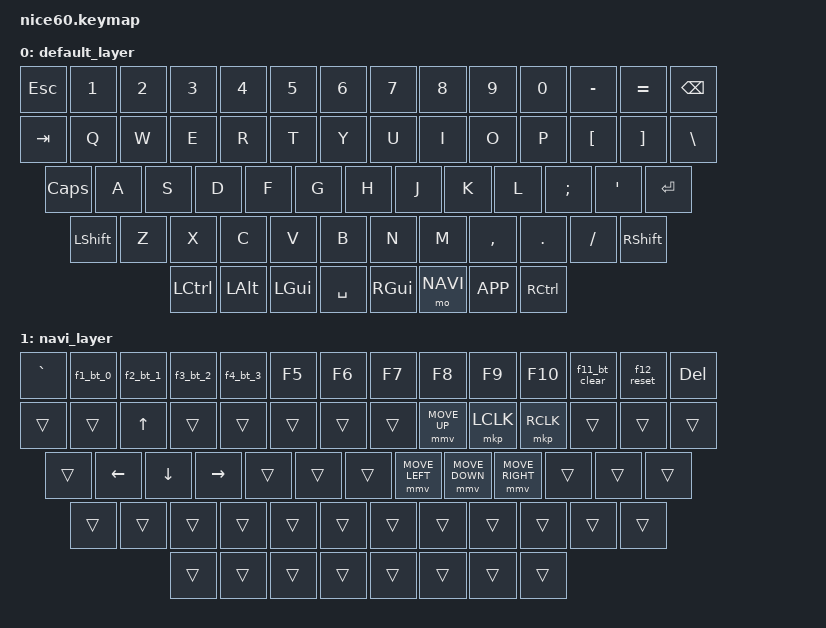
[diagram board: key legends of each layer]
#include <behaviors.dtsi>
#include <dt-bindings/zmk/bt.h>
#include <dt-bindings/zmk/keys.h>
#include <dt-bindings/zmk/pointing.h>

#define DEFAULT 0
#define NAVI 1

/ {
    behaviors {
        f1_bt_0: f1_bt_0 {
            compatible = "zmk,behavior-mod-morph";
            label = "f1_bt_0";
            #binding-cells = <0>;
            bindings = <&kp F1>, <&bt BT_SEL 0>;
            mods = <(MOD_LSFT|MOD_RSFT)>;
        };

        f2_bt_1: f2_bt_1 {
            compatible = "zmk,behavior-mod-morph";
            label = "f2_bt_1";
            #binding-cells = <0>;
            bindings = <&kp F2>, <&bt BT_SEL 1>;
            mods = <(MOD_LSFT|MOD_RSFT)>;
        };

        f3_bt_2: f3_bt_2 {
            compatible = "zmk,behavior-mod-morph";
            label = "f3_bt_2";
            #binding-cells = <0>;
            bindings = <&kp F3>, <&bt BT_SEL 2>;
            mods = <(MOD_LSFT|MOD_RSFT)>;
        };

        f4_bt_3: f4_bt_3 {
            compatible = "zmk,behavior-mod-morph";
            label = "f4_bt_3";
            #binding-cells = <0>;
            bindings = <&kp F4>, <&bt BT_SEL 3>;
            mods = <(MOD_LSFT|MOD_RSFT)>;
        };

        f11_bt_clear: f11_bt_clear {
            compatible = "zmk,behavior-mod-morph";
            label = "f11_bt_clear";
            #binding-cells = <0>;
            bindings = <&kp F11>, <&bt BT_CLR_ALL>;
            mods = <(MOD_LSFT|MOD_RSFT)>;
        };

        f12_reset: f12_reset {
            compatible = "zmk,behavior-mod-morph";
            label = "f12_reset";
            #binding-cells = <0>;
            bindings = <&kp F12>, <&sys_reset>;
            mods = <(MOD_LSFT|MOD_RSFT)>;
        };
    };

    keymap {
        compatible = "zmk,keymap";

        default_layer {
            bindings = <
                &kp ESC &kp N1 &kp N2 &kp N3 &kp N4 &kp N5 &kp N6 &kp N7 &kp N8 &kp N9 &kp N0 &kp MINUS &kp EQUAL &kp BSPC
                &kp TAB &kp Q &kp W &kp E &kp R &kp T &kp Y &kp U &kp I &kp O &kp P &kp LBKT &kp RBKT &kp BSLH
                &kp CLCK &kp A &kp S &kp D &kp F &kp G &kp H &kp J &kp K &kp L &kp SEMI &kp SQT &kp RET
                &kp LSHFT &kp Z &kp X &kp C &kp V &kp B &kp N &kp M &kp COMMA &kp DOT &kp FSLH &kp RSHFT
                &kp LCTRL &kp LALT &kp LGUI &kp SPACE &kp RGUI &mo NAVI &kp K_APP &kp RCTRL
            >;
        };

        navi_layer {
            bindings = <
                &kp GRAVE &f1_bt_0 &f2_bt_1 &f3_bt_2 &f4_bt_3 &kp F5 &kp F6 &kp F7 &kp F8 &kp F9 &kp F10 &f11_bt_clear &f12_reset &kp DEL
                &trans &trans &kp UP &trans &trans &trans &trans &trans &mmv MOVE_UP &mkp LCLK &mkp RCLK &trans &trans &trans
                &trans &kp LEFT &kp DOWN &kp RIGHT &trans &trans &trans &mmv MOVE_LEFT &mmv MOVE_DOWN &mmv MOVE_RIGHT &trans &trans &trans
                &trans &trans &trans &trans &trans &trans &trans &trans &trans &trans &trans &trans
                &trans &trans &trans &trans &trans &trans &trans &trans
            >;
        };
    };
};
